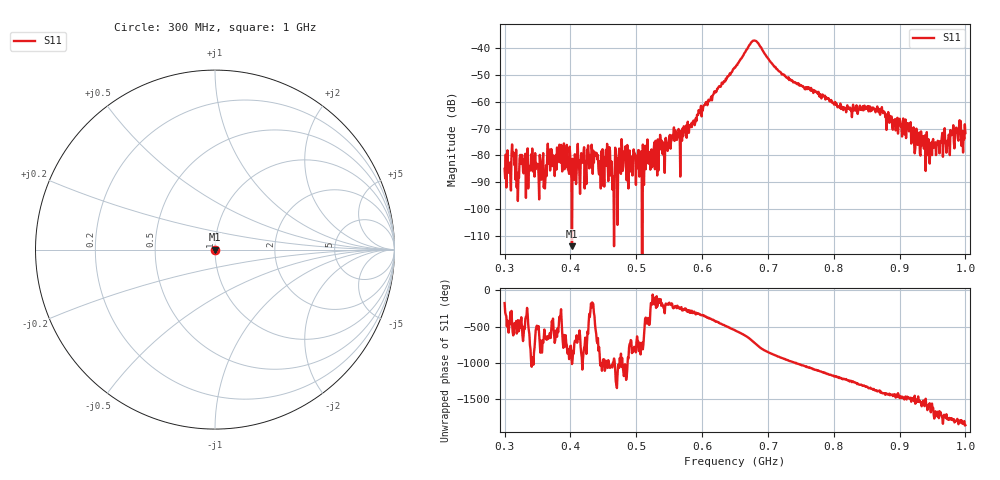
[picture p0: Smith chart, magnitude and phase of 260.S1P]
! C:\Users\rflab\Downloads\q2\260.S1P
! Touchstone 1.1 file saved by VNA.EXE V1.65 (www.ke5fx.com/gpib/readme.htm)
! 11/20/2024 11:14:42 AM
!  Source: HEWLETT PACKARD,8753D,0,6.14
!  Min freq: 3.000000E+008 Hz
!  Max freq: 1.000000E+009 Hz
!  Points: 801
!  Params: S21
# GHZ S MA R 50
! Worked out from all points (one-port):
!   801 points, 300 MHz to 1 GHz, reference 50 ohm
!   lowest |S11| = -114.0 dB at 402.4 MHz (marker M1), VSWR 1.00, Z = 50 + j0.00018 ohm
!   |S11| at or under -10 dB: start of sweep to end of sweep
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0.3  5.6e-05 -173.7
0.3875  5e-05 134.3
0.402375  2e-06 64.2
0.475  5.7e-05 147.1
0.5135  0.000151 -29.4
0.52225  6e-05 -172.8
0.535375  0.000127 -170.9
0.545  0.000212 179.9
0.5625  0.000217 150.3
0.566  0.000263 106.6
0.58  0.000264 83.4
0.65  0.004364 169.4
0.67975  0.01403 -4.4
0.712125  0.004344 -178.8
0.7375  0.002439 93.0
0.825  0.000781 -169.3
0.869625  0.00062 60.4
0.892375  0.000365 8.5
0.9125  0.000321 -38.6
0.92125  0.000334 -42.4
0.937875  0.000211 -157.5
0.94575  7e-05 -116.3
0.965  0.000263 40.0
0.972875  0.00019 22.1
0.978125  0.000237 35.7
0.986  0.00033 -3.8
0.9895  0.000188 -46.3
1  0.000261 -60.1
